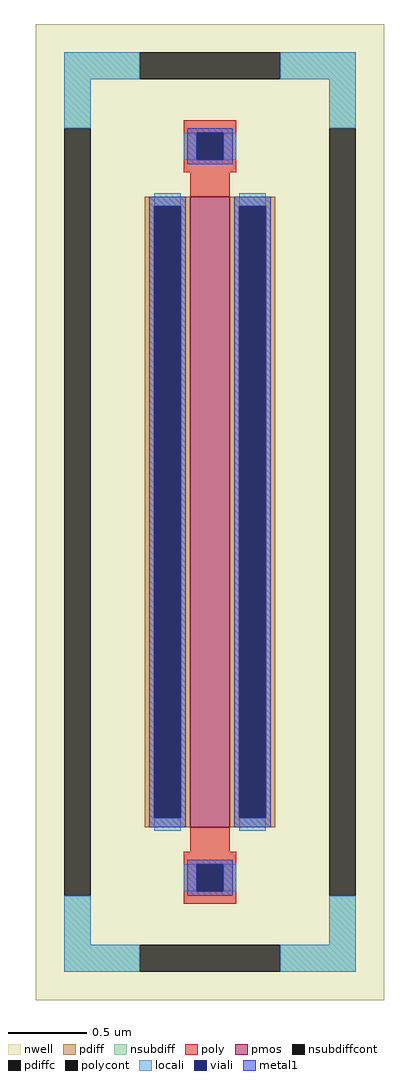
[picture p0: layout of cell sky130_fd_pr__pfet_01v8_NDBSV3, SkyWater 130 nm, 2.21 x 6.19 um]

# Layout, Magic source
magic
tech sky130A
magscale 1 2
<< nwell >>
rect -221 -619 221 619
<< pmos >>
rect -25 -400 25 400
<< pdiff >>
rect -83 388 -25 400
rect -83 -388 -71 388
rect -37 -388 -25 388
rect -83 -400 -25 -388
rect 25 388 83 400
rect 25 -388 37 388
rect 71 -388 83 388
rect 25 -400 83 -388
<< pdiffc >>
rect -71 -388 -37 388
rect 37 -388 71 388
<< nsubdiff >>
rect -185 549 -89 583
rect 89 549 185 583
rect -185 487 -151 549
rect 151 487 185 549
rect -185 -549 -151 -487
rect 151 -549 185 -487
rect -185 -583 -89 -549
rect 89 -583 185 -549
<< nsubdiffcont >>
rect -89 549 89 583
rect -185 -487 -151 487
rect 151 -487 185 487
rect -89 -583 89 -549
<< poly >>
rect -33 481 33 497
rect -33 447 -17 481
rect 17 447 33 481
rect -33 431 33 447
rect -25 400 25 431
rect -25 -431 25 -400
rect -33 -447 33 -431
rect -33 -481 -17 -447
rect 17 -481 33 -447
rect -33 -497 33 -481
<< polycont >>
rect -17 447 17 481
rect -17 -481 17 -447
<< locali >>
rect -185 549 -89 583
rect 89 549 185 583
rect -185 487 -151 549
rect 151 487 185 549
rect -33 447 -17 481
rect 17 447 33 481
rect -71 388 -37 404
rect -71 -404 -37 -388
rect 37 388 71 404
rect 37 -404 71 -388
rect -33 -481 -17 -447
rect 17 -481 33 -447
rect -185 -549 -151 -487
rect 151 -549 185 -487
rect -185 -583 -89 -549
rect 89 -583 185 -549
<< viali >>
rect -17 447 17 481
rect -71 -388 -37 388
rect 37 -388 71 388
rect -17 -481 17 -447
<< metal1 >>
rect -29 481 29 487
rect -29 447 -17 481
rect 17 447 29 481
rect -29 441 29 447
rect -77 388 -31 400
rect -77 -388 -71 388
rect -37 -388 -31 388
rect -77 -400 -31 -388
rect 31 388 77 400
rect 31 -388 37 388
rect 71 -388 77 388
rect 31 -400 77 -388
rect -29 -447 29 -441
rect -29 -481 -17 -447
rect 17 -481 29 -447
rect -29 -487 29 -481
<< properties >>
string FIXED_BBOX -168 -566 168 566
string gencell sky130_fd_pr__pfet_01v8
string library sky130
string parameters w 4.0 l 0.25 m 1 nf 1 diffcov 100 polycov 100 guard 1 glc 1 grc 1 gtc 1 gbc 1 tbcov 100 rlcov 100 topc 1 botc 1 poverlap 0 doverlap 1 lmin 0.15 wmin 0.42 compatible {sky130_fd_pr__pfet_01v8  sky130_fd_pr__pfet_01v8_lvt sky130_fd_pr__pfet_01v8_hvt  sky130_fd_pr__pfet_g5v0d10v5} full_metal 1 viasrc 100 viadrn 100 viagate 100 viagb 0 viagr 0 viagl 0 viagt 0
<< end >>
